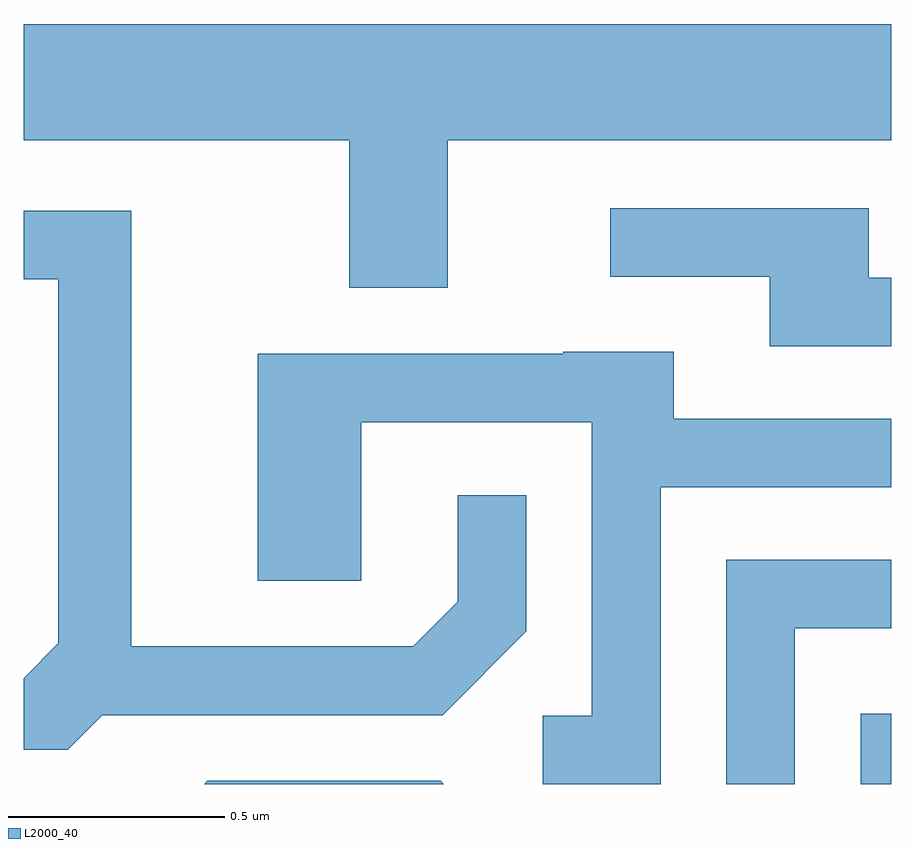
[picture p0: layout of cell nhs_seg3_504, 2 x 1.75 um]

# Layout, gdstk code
import gdstk
lib = gdstk.Library(unit=1e-6, precision=1e-09)
def R(c, l, rs):  # rectangles x0, y0, x1, y1
    for r in rs: c.add(gdstk.rectangle(r[:2], r[2:], *l))
def P(c, l, *ps):  # polygons
    for p in ps: c.add(gdstk.Polygon(p, *l))
L2000_40 = (2000, 40)

nhs_seg3_504 = lib.new_cell('nhs_seg3_504')
R(nhs_seg3_504, L2000_40, [(190.541,1208.892,190.611,1209.054)])
P(nhs_seg3_504, L2000_40, [(189.589,1210.376),(190.611,1210.376),(190.611,1210.644),(188.611,1210.644),(188.611,1210.376),(189.361,1210.376),(189.361,1210.036),(189.589,1210.036)],
  [(190.611,1210.059),(190.559,1210.059),(190.559,1210.219),(189.963,1210.219),(189.963,1210.061),(190.331,1210.061),(190.331,1209.901),(190.611,1209.901)],
  [(188.792,1209.051),(189.577,1209.051),(189.769,1209.244),(189.769,1209.558),(189.611,1209.558),(189.611,1209.312),(189.509,1209.209),(188.859,1209.209),(188.859,1210.214),(188.611,1210.214),(188.611,1210.056),(188.691,1210.056),(188.691,1209.217),(188.611,1209.136),(188.611,1208.971),(188.712,1208.971)],
  [(190.079,1209.576),(190.611,1209.576),(190.611,1209.734),(190.109,1209.734),(190.109,1209.889),(189.855,1209.889),(189.855,1209.884),(189.151,1209.884),(189.151,1209.361),(189.389,1209.361),(189.389,1209.726),(189.921,1209.726),(189.921,1209.049),(189.808,1209.049),(189.808,1208.892),(190.079,1208.892)],
  [(190.389,1209.251),(190.611,1209.251),(190.611,1209.409),(190.231,1209.409),(190.231,1208.892),(190.389,1208.892)],
  [(189.572,1208.899),(189.034,1208.899),(189.027,1208.892),(189.579,1208.892)])

lib.write_gds('nhs_seg3_504.gds')
